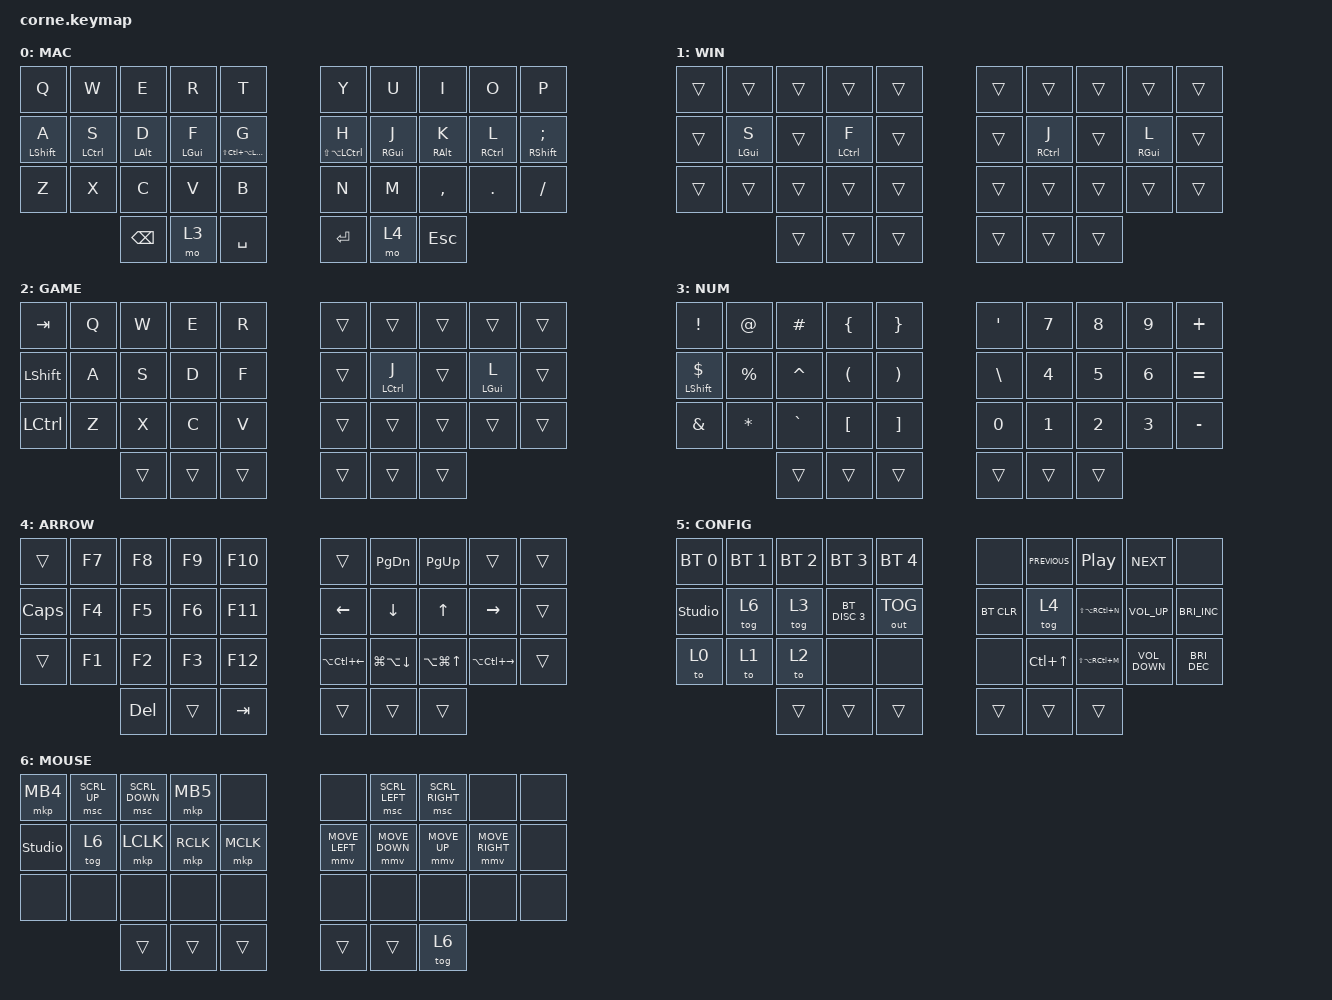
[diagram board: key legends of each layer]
/*
 * Copyright (c) 2020 The ZMK Contributors
 *
 * SPDX-License-Identifier: MIT
 */

#include <behaviors.dtsi>
#include <dt-bindings/zmk/bt.h>
#include <dt-bindings/zmk/keys.h>
#include <dt-bindings/zmk/outputs.h>
#include <dt-bindings/zmk/pointing.h>

/ {
    chosen {
        zmk,physical-layout = &foostan_corne_5col_layout;
    };

    behaviors {
        homerow_mods: homerow_mods {
            compatible = "zmk,behavior-hold-tap";
            display-name = "HOMEROW_MODS";
            #binding-cells = <2>;
            tapping-term-ms = <200>;
            quick-tap-ms = <200>;
            flavor = "tap-preferred";
            bindings = <&kp>, <&kp>;

            require-prior-idle-ms = <125>;
        };

        // Optional Studio behaviors. Existing keys keep using homerow_mods.
        homerow_left: homerow_left {
            compatible = "zmk,behavior-hold-tap";
            display-name = "POSITIONAL_HOMEROW_LEFT";
            #binding-cells = <2>;
            tapping-term-ms = <200>;
            quick-tap-ms = <200>;
            flavor = "balanced";
            bindings = <&kp>, <&kp>;
            require-prior-idle-ms = <125>;
            hold-trigger-key-positions = <5 6 7 8 9 15 16 17 18 19 25 26 27 28 29 30 31 32 33 34 35>;
            hold-trigger-on-release;
        };

        homerow_right: homerow_right {
            compatible = "zmk,behavior-hold-tap";
            display-name = "POSITIONAL_HOMEROW_RIGHT";
            #binding-cells = <2>;
            tapping-term-ms = <200>;
            quick-tap-ms = <200>;
            flavor = "balanced";
            bindings = <&kp>, <&kp>;
            require-prior-idle-ms = <125>;
            hold-trigger-key-positions = <0 1 2 3 4 10 11 12 13 14 20 21 22 23 24 30 31 32 33 34 35>;
            hold-trigger-on-release;
        };
    };

    combos {
        compatible = "zmk,combos";

        alfred {
            bindings = <&kp LG(SPACE)>;
            key-positions = <32 33>;
            layers = <0>;
        };

        flow_launcher {
            bindings = <&kp LA(SPACE)>;
            key-positions = <32 33>;
            layers = <1>;
        };
    };

    macros {
        macos_fullscreen: macos_fullscreen {
            compatible = "zmk,behavior-macro";
            #binding-cells = <0>;
            bindings = <&kp GLOBE &kp F>;
            display-name = "MACOS_FULLSCREEN";
        };
    };

    keymap {
        compatible = "zmk,keymap";

        mac {
            //  Q   W   E   R   T  |  Y   U   I   O   P
            //  A   S   D   F   G  |  H   J   K   L   ;
            //  Z   X   C   V   B  |  N   M   ,   .   /
            //       BSPC NUM SPC  |  RET ARROW ESC

            bindings = <
&kp Q                       &kp W                  &kp E                     &kp R                 &kp T                                 &kp Y                          &kp U                 &kp I                      &kp O                          &kp P
&homerow_mods LEFT_SHIFT A  &homerow_mods LCTRL S  &homerow_mods LEFT_ALT D  &homerow_mods LGUI F  &homerow_mods LS(LC(LA(LGUI))) G      &homerow_mods LS(LA(LCTRL)) H  &homerow_mods RGUI J  &homerow_mods RIGHT_ALT K  &homerow_mods RIGHT_CONTROL L  &homerow_mods RIGHT_SHIFT SEMICOLON
&kp Z                       &kp X                  &kp C                     &kp V                 &kp B                                 &kp N                          &kp M                 &kp COMMA                  &kp DOT                        &kp FSLH
                                                   &kp BACKSPACE             &mo 3                 &kp SPACE                             &kp RET                        &mo 4                 &kp ESCAPE
            >;

            display-name = "MAC";
        };

        windows {
            bindings = <
&trans  &trans                &trans  &trans                        &trans      &trans  &trans                         &trans  &trans                &trans
&trans  &homerow_mods LGUI S  &trans  &homerow_mods LEFT_CONTROL F  &trans      &trans  &homerow_mods RIGHT_CONTROL J  &trans  &homerow_mods RGUI L  &trans
&trans  &trans                &trans  &trans                        &trans      &trans  &trans                         &trans  &trans                &trans
                              &trans  &trans                        &trans      &trans  &trans                         &trans
            >;

            display-name = "WIN";
        };

        gaming {
            bindings = <
&kp TAB    &kp Q  &kp W   &kp E   &kp R       &trans  &trans                 &trans  &trans                &trans
&kp LSHFT  &kp A  &kp S   &kp D   &kp F       &trans  &homerow_mods LCTRL J  &trans  &homerow_mods LGUI L  &trans
&kp LCTRL  &kp Z  &kp X   &kp C   &kp V       &trans  &trans                 &trans  &trans                &trans
                  &trans  &trans  &trans      &trans  &trans                 &trans
            >;

            display-name = "GAME";
        };

        num_symbol {
            bindings = <
&kp EXCLAMATION                  &kp AT_SIGN   &kp HASH   &kp LEFT_BRACE        &kp RIGHT_BRACE            &kp APOSTROPHE  &kp N7  &kp N8  &kp N9  &kp PLUS
&homerow_mods LEFT_SHIFT DOLLAR  &kp PERCENT   &kp CARET  &kp LEFT_PARENTHESIS  &kp RIGHT_PARENTHESIS      &kp BSLH        &kp N4  &kp N5  &kp N6  &kp EQUAL
&kp AMPERSAND                    &kp ASTERISK  &kp GRAVE  &kp LBKT              &kp RBKT                   &kp N0          &kp N1  &kp N2  &kp N3  &kp MINUS
                                               &trans     &trans                &trans                     &trans          &trans  &trans
            >;

            display-name = "NUM";
        };

        arrow_func {
            bindings = <
&trans        &kp F7  &kp F8      &kp F9  &kp F10      &trans                  &kp PG_DN               &kp PG_UP             &trans                   &trans
&kp CAPSLOCK  &kp F4  &kp F5      &kp F6  &kp F11      &kp LEFT                &kp DOWN                &kp UP                &kp RIGHT                &trans
&trans        &kp F1  &kp F2      &kp F3  &kp F12      &kp LA(LC(LEFT_ARROW))  &kp LG(LA(DOWN_ARROW))  &kp LA(LG(UP_ARROW))  &kp LA(LC(RIGHT_ARROW))  &trans
                      &kp DELETE  &trans  &kp TAB      &trans                  &trans                  &trans
            >;

            display-name = "ARROW";
        };

        config_layer {
            // Hold NUM + ARROW. A unlocks Studio, S toggles MOUSE,
            // D locks/unlocks NUM, and J locks/unlocks ARROW.

            bindings = <
&bt BT_SEL 0    &bt BT_SEL 1  &bt BT_SEL 2  &bt BT_SEL 3   &bt BT_SEL 4      &none       &kp C_PREVIOUS    &kp C_PLAY_PAUSE   &kp C_NEXT         &none
&studio_unlock  &tog 6        &tog 3        &bt BT_DISC 3  &out OUT_TOG      &bt BT_CLR  &tog 4            &kp LS(LA(RC(N)))  &kp C_VOL_UP       &kp C_BRIGHTNESS_INC
&to 0           &to 1         &to 2         &none          &none             &none       &kp LC(UP_ARROW)  &kp LS(LA(RC(M)))  &kp C_VOLUME_DOWN  &kp C_BRIGHTNESS_DEC
                              &trans        &trans         &trans            &trans      &trans            &trans
            >;

            display-name = "CONFIG";
        };

        mouse {
            bindings = <
&mkp MB4        &msc SCRL_UP  &msc SCRL_DOWN  &mkp MB5   &none          &none           &msc SCRL_LEFT  &msc SCRL_RIGHT  &none            &none
&studio_unlock  &tog 6        &mkp LCLK       &mkp RCLK  &mkp MCLK      &mmv MOVE_LEFT  &mmv MOVE_DOWN  &mmv MOVE_UP     &mmv MOVE_RIGHT  &none
&none           &none         &none           &none      &none          &none           &none           &none            &none            &none
                              &trans          &trans     &trans         &trans          &trans          &tog 6
            >;

            display-name = "MOUSE";
        };
    };

    conditional_layers {
        compatible = "zmk,conditional-layers";

        conifg_layer {
            if-layers = <3 4>;
            then-layer = <5>;
        };
    };
};

// Combos and positional behaviors use five-column position indexes.
// Expose only this layout in Studio to keep their indexes consistent.
&foostan_corne_6col_layout {
    status = "disabled";
};
